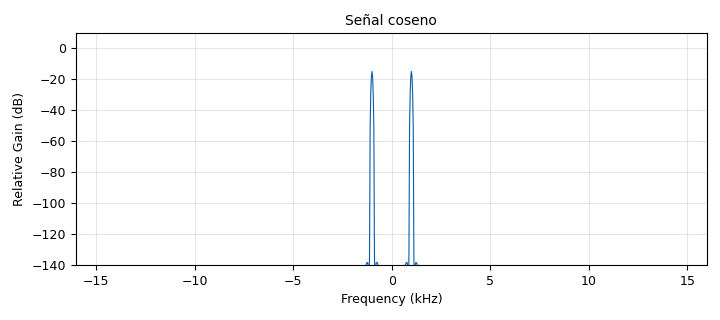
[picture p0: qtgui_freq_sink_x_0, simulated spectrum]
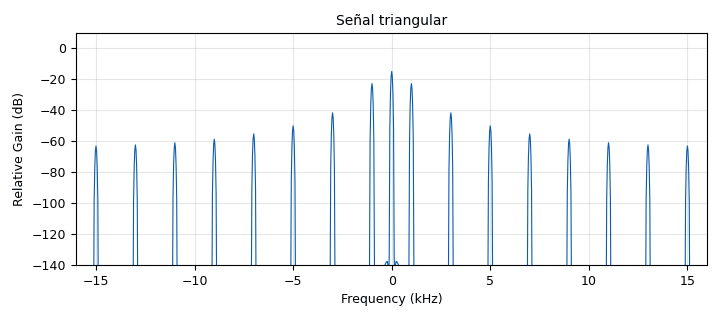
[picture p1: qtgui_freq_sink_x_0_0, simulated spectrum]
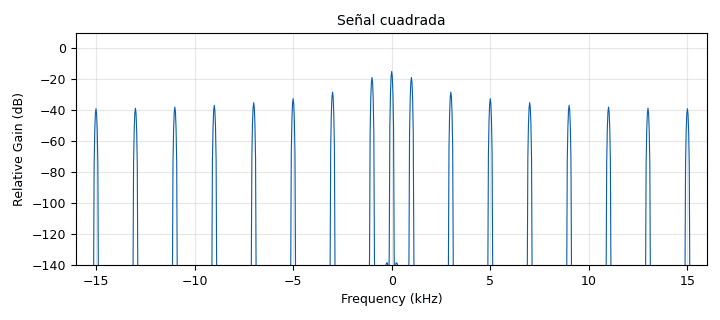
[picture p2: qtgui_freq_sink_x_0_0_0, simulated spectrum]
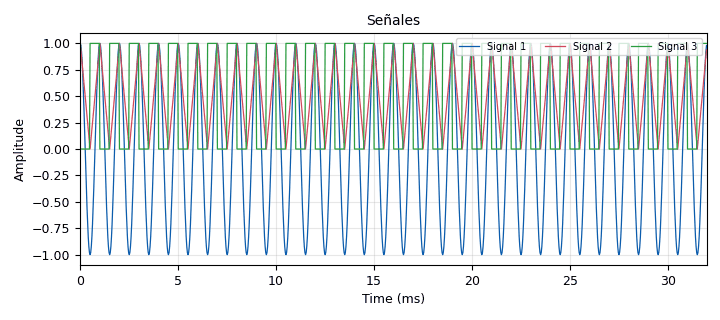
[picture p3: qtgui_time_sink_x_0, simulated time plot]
options:
  parameters:
    author: Juan David Barrero
    generate_options: qt_gui
    id: sourceSink
    output_language: python
    title: Source Sink
  states: {}

blocks:
- name: samp_rate
  id: variable
  parameters:
    value: '32000'
  states: {}
- name: analog_sig_source_x_0
  id: analog_sig_source_x
  parameters:
    amp: '1'
    freq: '1000'
    offset: '0'
    phase: '0'
    samp_rate: samp_rate
    type: float
    waveform: analog.GR_COS_WAVE
  states: {}
- name: analog_sig_source_x_0_0
  id: analog_sig_source_x
  parameters:
    amp: '1'
    freq: '1000'
    offset: '0'
    phase: '0'
    samp_rate: samp_rate
    type: float
    waveform: analog.GR_SQR_WAVE
  states: {}
- name: analog_sig_source_x_0_0_0
  id: analog_sig_source_x
  parameters:
    amp: '1'
    freq: '1000'
    offset: '0'
    phase: '0'
    samp_rate: samp_rate
    type: float
    waveform: analog.GR_TRI_WAVE
  states: {}
- name: blocks_throttle_0
  id: blocks_throttle
  parameters:
    samples_per_second: samp_rate
    type: float
  states: {}
- name: blocks_throttle_0_0
  id: blocks_throttle
  parameters:
    samples_per_second: samp_rate
    type: float
  states: {}
- name: blocks_throttle_0_0_0
  id: blocks_throttle
  parameters:
    samples_per_second: samp_rate
    type: float
  states: {}
- name: note_0
  id: note
  parameters:
    note: Crea señales con la frecuancia dada por el usuario
  states: {}
- name: note_1
  id: note
  parameters:
    note: Evita que el procesador del computador trabaje a toda maquina
  states: {}
- name: note_2
  id: note
  parameters:
    note: Muestra la señal de salida en el dominio del tiempo
  states: {}
- name: qtgui_freq_sink_x_0
  id: qtgui_freq_sink_x
  parameters:
    bw: samp_rate
    fc: '0'
    fftsize: '1024'
    name: '"Señal coseno"'
    type: float
    wintype: firdes.WIN_BLACKMAN_hARRIS
  states: {}
- name: qtgui_freq_sink_x_0_0
  id: qtgui_freq_sink_x
  parameters:
    bw: samp_rate
    fc: '0'
    fftsize: '1024'
    name: '"Señal triangular"'
    type: float
    wintype: firdes.WIN_BLACKMAN_hARRIS
  states: {}
- name: qtgui_freq_sink_x_0_0_0
  id: qtgui_freq_sink_x
  parameters:
    bw: samp_rate
    fc: '0'
    fftsize: '1024'
    name: '"Señal cuadrada"'
    type: float
    wintype: firdes.WIN_BLACKMAN_hARRIS
  states: {}
- name: qtgui_time_sink_x_0
  id: qtgui_time_sink_x
  parameters:
    autoscale: 'True'
    name: '"Señales"'
    nconnections: '3'
    size: '1024'
    srate: samp_rate
    type: float
    yunit: '"[V]"'
  states: {}

connections:
- [analog_sig_source_x_0, '0', blocks_throttle_0, '0']
- [analog_sig_source_x_0_0, '0', blocks_throttle_0_0_0, '0']
- [analog_sig_source_x_0_0_0, '0', blocks_throttle_0_0, '0']
- [blocks_throttle_0, '0', qtgui_freq_sink_x_0, '0']
- [blocks_throttle_0, '0', qtgui_time_sink_x_0, '0']
- [blocks_throttle_0_0, '0', qtgui_freq_sink_x_0_0, '0']
- [blocks_throttle_0_0, '0', qtgui_time_sink_x_0, '1']
- [blocks_throttle_0_0_0, '0', qtgui_freq_sink_x_0_0_0, '0']
- [blocks_throttle_0_0_0, '0', qtgui_time_sink_x_0, '2']

metadata:
  file_format: 1
